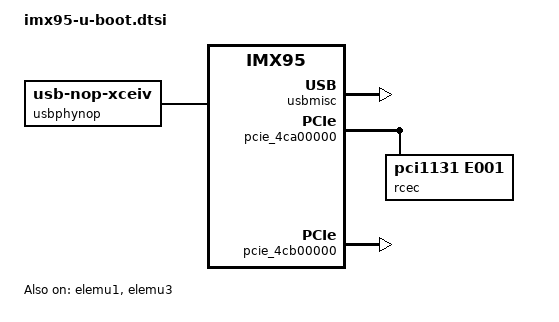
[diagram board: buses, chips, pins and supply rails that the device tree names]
// SPDX-License-Identifier: GPL-2.0+
/*
 * Copyright 2025 NXP
 */

/ {
	binman {
		multiple-images;

		m33-oei-ddrfw {
			pad-byte = <0x00>;
			align-size = <0x8>;
			filename = "m33-oei-ddrfw.bin";

			oei-m33-ddr {
				align-size = <0x4>;
				filename = "oei-m33-ddr.bin";
				type = "blob-ext";
			};

			imx-lpddr {
				type = "nxp-header-ddrfw";

				imx-lpddr-imem {
					filename = "lpddr5_imem_v202311.bin";
					type = "blob-ext";
				};

				imx-lpddr-dmem {
					filename = "lpddr5_dmem_v202311.bin";
					type = "blob-ext";
				};
			};

			imx-lpddr-qb {
				type = "nxp-header-ddrfw";

				imx-lpddr-imem-qb {
					filename = "lpddr5_imem_qb_v202311.bin";
					type = "blob-ext";
				};

				imx-lpddr-dmem-qb {
					filename = "lpddr5_dmem_qb_v202311.bin";
					type = "blob-ext";
				};
			};
		};

		imx-boot {
			filename = "flash.bin";
			pad-byte = <0x00>;

			spl {
				align = <0x400>;
				align-size = <0x400>;
				type = "mkimage";
				args = "-n spl/u-boot-spl.cfgout -T imx8image";
			};

			u-boot {
				type = "mkimage";
				args = "-n u-boot-container.cfgout -T imx8image";
			};
		};
	};
};

&aips1 {
	bootph-all;
};

&aips2 {
	bootph-all;
};

&aips3 {
	bootph-pre-ram;
};

&clk_ext1 {
	bootph-all;
};

&elemu1 {
	status = "okay";
	bootph-pre-ram;
};

&elemu3 {
	status = "okay";
	bootph-all;
};

&{/firmware} {
	bootph-all;
};

&{/firmware/scmi} {
	bootph-all;
};

&{/firmware/scmi/protocol@11} {
	bootph-all;
};

&{/firmware/scmi/protocol@13} {
	bootph-all;
};

&{/firmware/scmi/protocol@14} {
	bootph-all;
};

&{/firmware/scmi/protocol@15} {
	bootph-all;
};

&{/firmware/scmi/protocol@19} {
	bootph-all;
};

&gpio2 {
	reg = <0 0x43810000 0 0x1000>, <0 0x43810040 0 0x40>;
	bootph-pre-ram;
};

&gpio3 {
	reg = <0 0x43820000 0 0x1000>, <0 0x43820040 0 0x40>;
	bootph-pre-ram;
};

&gpio4 {
	reg = <0 0x43840000 0 0x1000>, <0 0x43840040 0 0x40>;
	bootph-pre-ram;
};

&gpio5 {
	reg = <0 0x43850000 0 0x1000>, <0 0x43850040 0 0x40>;
	bootph-pre-ram;
};

&mu2 {
	bootph-all;
};

&osc_24m {
	bootph-all;
};

&{/soc} {
	bootph-all;

	usb3_phy: phy@4c1f0040 {
		compatible = "fsl,imx8mp-usb-phy";
		reg = <0x0 0x4c1f0040 0x0 0x40>;
		clocks = <&scmi_clk IMX95_CLK_HSIO>;
		clock-names = "phy";
		#phy-cells = <0>;
		status = "disabled";
	};

	usb3: usb@4c010010 {
		compatible = "fsl,imx95-dwc3", "fsl,imx8mp-dwc3";
		reg = <0x0 0x4c010010 0x0 0x04>,
		      <0x0 0x4c1f0000 0x0 0x20>;
		clocks = <&scmi_clk IMX95_CLK_HSIO>,
			 <&scmi_clk IMX95_CLK_32K>;
		clock-names = "hsio", "suspend";
		interrupts = <GIC_SPI 173 IRQ_TYPE_LEVEL_HIGH>;
		#address-cells = <2>;
		#size-cells = <2>;
		ranges;
		power-domains = <&scmi_devpd IMX95_PD_HSIO_TOP>;
		status = "disabled";

		usb3_dwc3: usb@4c100000 {
			compatible = "snps,dwc3";
			reg = <0x0 0x4c100000 0x0 0x10000>;
			clocks = <&scmi_clk IMX95_CLK_HSIO>,
				 <&scmi_clk IMX95_CLK_24M>,
				 <&scmi_clk IMX95_CLK_32K>;
			clock-names = "bus_early", "ref", "suspend";
			interrupts = <GIC_SPI 175 IRQ_TYPE_LEVEL_HIGH>;
			phys = <&usb3_phy>, <&usb3_phy>;
			phy-names = "usb2-phy", "usb3-phy";
			snps,gfladj-refclk-lpm-sel-quirk;
			snps,parkmode-disable-ss-quirk;
		};
	};

	usb2: usb@4c200000 {
		compatible = "fsl,imx95-usb";
		reg = <0x0 0x4c200000 0x0 0x200>, <0x0 0x4c010000 0x0 0x30>;
		interrupts = <GIC_SPI 176 IRQ_TYPE_LEVEL_HIGH>,
			     <GIC_SPI 174 IRQ_TYPE_LEVEL_HIGH>;
		clocks = <&scmi_clk IMX95_CLK_HSIO>;
		clock-names = "usb1_ctrl_root_clk";
		power-domains = <&scmi_devpd IMX95_PD_HSIO_TOP>;
		phys = <&usbphynop>;
		fsl,usbmisc = <&usbmisc 0>;
		status = "disabled";
	};

	usbphynop: usbphynop {
		compatible = "usb-nop-xceiv";
		#phy-cells = <0>;
		clocks = <&scmi_clk IMX95_CLK_USBPHYBURUNIN>;
		clock-names = "main_clk";
	};

	usbmisc: usbmisc@4c200200 {
		compatible = "fsl,imx95-usbmisc";
		#index-cells = <1>;
		reg = <0x0 0x4c200200 0x0 0x200>;
	};

	netc_blk_ctrl: netc-blk-ctrl@4cde0000 {
		compatible = "nxp,imx95-netc-blk-ctrl";
		reg = <0x0 0x4cde0000 0x0 0x10000>,
		      <0x0 0x4cdf0000 0x0 0x10000>,
		      <0x0 0x4c81000c 0x0 0x18>;
		reg-names = "ierb", "prb", "netcmix";
		#address-cells = <2>;
		#size-cells = <2>;
		ranges;
		power-domains = <&scmi_devpd IMX95_PD_NETC>;
		assigned-clocks = <&scmi_clk IMX95_CLK_ENETREF>;
		assigned-clock-parents = <&scmi_clk IMX95_CLK_SYSPLL1_PFD0>;
		assigned-clock-rates = <250000000>;
		clocks = <&scmi_clk IMX95_CLK_ENET>;
		clock-names = "ipg_clk";

		pcie_4ca00000: pcie@4ca00000 {
			compatible = "pci-host-ecam-generic";
			reg = <0x0 0x4ca00000 0x0 0x100000>;
			/* Must be 3. */
			#address-cells = <3>;
			/* Must be 2. */
			#size-cells = <2>;
			device_type = "pci";
			bus-range = <0x0 0x0>;
				 /* ENETC0~2 and Timer BAR0 - non-prefetchable memory */
			ranges = <0x82000000 0x0 0x4cc00000  0x0 0x4cc00000  0x0 0xe0000
				 /* Timer BAR2 - prefetchable memory */
				 0xc2000000 0x0 0x4cd00000  0x0 0x4cd00000  0x0 0x10000
				 /* ENETC0~2: VF0-1 BAR0 - non-prefetchable memory */
				 0x82000000 0x0 0x4cd20000  0x0 0x4cd20000  0x0 0x60000
				 /* ENETC0~2: VF0-1 BAR2 - prefetchable memory */
				 0xc2000000 0x0 0x4cd80000  0x0 0x4cd80000  0x0 0x60000>;

			enetc_port0: ethernet@0,0 {
				compatible = "fsl,imx95-enetc";
				reg = <0x000000 0 0 0 0>;
				clocks = <&scmi_clk IMX95_CLK_ENETREF>;
				clock-names = "enet_ref_clk";
				status = "disabled";
			};

			enetc_port1: ethernet@8,0 {
				compatible = "fsl,imx95-enetc";
				reg = <0x004000 0 0 0 0>;
				clocks = <&scmi_clk IMX95_CLK_ENETREF>;
				clock-names = "enet_ref_clk";
				status = "disabled";
			};

			enetc_port2: ethernet@10,0 {
				compatible = "fsl,imx95-enetc";
				reg = <0x008000 0 0 0 0>;
				status = "disabled";
			};

			netc_timer: ethernet@18,0 {
				compatible = "fsl,imx95-netc-timer";
				reg = <0x00c000 0 0 0 0>;
				status = "disabled";
			};

			rcec@1,0 {
				compatible = "pci1131,e001";
				reg = <0x000800 0 0 0 0>;
				interrupts = <GIC_SPI 304 IRQ_TYPE_LEVEL_HIGH>;
			};
		};

		pcie_4cb00000: pcie@4cb00000 {
			compatible = "pci-host-ecam-generic";
			reg = <0x0 0x4cb00000 0x0 0x100000>;
			#address-cells = <3>;
			#size-cells = <2>;
			device_type = "pci";
			bus-range = <0x1 0x1>;
				 /* EMDIO BAR0 - non-prefetchable memory */
			ranges = <0x82000000 0x0 0x4cce0000  0x0 0x4cce0000  0x0 0x20000
				 /* EMDIO BAR2 - prefetchable memory */
				 0xc2000000 0x0 0x4cd10000  0x0 0x4cd10000  0x0 0x10000>;
			power-domains = <&scmi_devpd IMX95_PD_NETC>;

			netc_emdio: mdio@0,0 {
				compatible = "fsl,enetc4-mdio";
				reg = <0x010000 0 0 0 0>;
				#address-cells = <1>;
				#size-cells = <0>;
				status = "disabled";
			};
		};
	};
};

&sram0 {
	bootph-all;
};

&scmi_buf0 {
	reg = <0x0 0x400>;
	bootph-all;
};

&scmi_buf1 {
	bootph-all;
};


